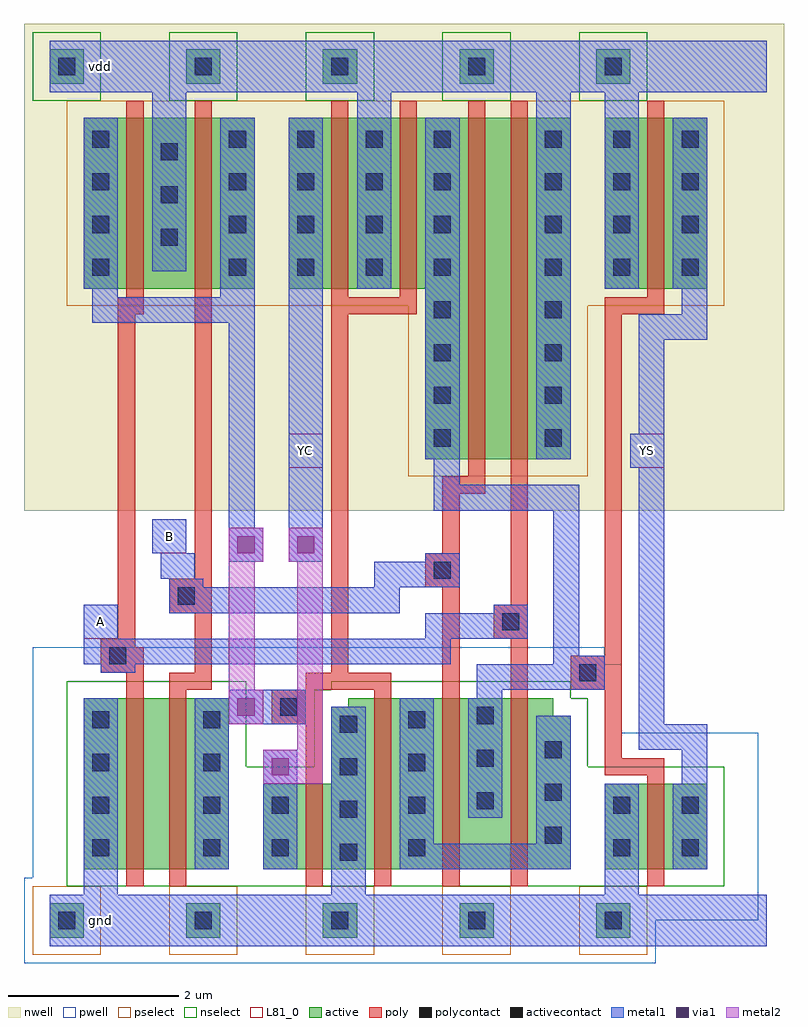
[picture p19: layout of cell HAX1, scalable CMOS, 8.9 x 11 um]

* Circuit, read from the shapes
.subckt HAX1 A B YC YS gnd vdd
M1 n1 A gnd gnd nfet w=2u l=0.2u
M2 n2 B n1 gnd nfet w=2u l=0.2u
M3 gnd n2 YC gnd nfet w=1u l=0.2u
M4 n3 n2 gnd gnd nfet w=2u l=0.2u
M5 n4 B n3 gnd nfet w=2u l=0.2u
M6 n3 A n4 gnd nfet w=2u l=0.2u
M7 YS n4 gnd gnd nfet w=1u l=0.2u
M8 vdd A n2 vdd pfet w=2u l=0.2u
M9 n2 B vdd vdd pfet w=2u l=0.2u
M10 vdd n2 YC vdd pfet w=2u l=0.2u
M11 n4 n2 vdd vdd pfet w=2u l=0.2u
M12 n5 B n4 vdd pfet w=4u l=0.2u
M13 vdd A n5 vdd pfet w=4u l=0.2u
M14 YS n4 vdd vdd pfet w=2u l=0.2u
.ends

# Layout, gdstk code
import gdstk
lib = gdstk.Library(unit=1e-6, precision=1e-09)
def R(c, l, rs):  # rectangles x0, y0, x1, y1
    for r in rs: c.add(gdstk.rectangle(r[:2], r[2:], *l))
def A(c, l, x, y, w, h, nx, ny, dx, dy):  # array of equal rectangles
    R(c, l, [(x+i*dx, y+j*dy, x+i*dx+w, y+j*dy+h) for i in range(nx) for j in range(ny)])
pwell = (41, 0)
nwell = (42, 0)
active = (43, 0)
pselect = (44, 0)
nselect = (45, 0)
poly = (46, 0)
polycontact = (47, 0)
activecontact = (48, 0)
metal1 = (49, 0)
via1 = (50, 0)
metal2 = (51, 0)
L81_0 = (81, 0)

hax1 = lib.new_cell('HAX1')
R(hax1, pwell, [(-0.5,-0.5,6.9,0), (-0.5,0,8.1,0.5), (-0.4,0.5,8.1,2.2), (-0.4,2.2,6.5,3), (-0.4,3,6.3,3.2)])
R(hax1, nwell, [(-0.5,4.8,8.4,10.5)])
A(hax1, active, -0.2, -0.2, 0.4, 0.4, 5, 2, 1.6, 10)
R(hax1, active, [(0.2,0.6,1.9,2.6), (2.3,0.6,5.9,1.6), (6.3,0.6,7.5,1.6), (3.1,1.6,5.9,2.4), (3.1,2.4,5.7,2.5), (3.3,2.5,5.7,2.6), (4.2,5.4,5.9,7.4), (0.2,7.4,2.2,9.4), (2.6,7.4,5.9,9.4), (6.3,7.4,7.5,9.4)])
A(hax1, pselect, -0.4, -0.4, 0.8, 0.8, 5, 1, 1.6, 0)
R(hax1, pselect, [(4,5.2,6.1,7.2), (0,7.2,7.7,9.6)])
A(hax1, nselect, -0.4, 9.6, 0.8, 0.8, 5, 1, 1.6, 0)
R(hax1, nselect, [(0,0.4,7.7,1.8), (0,1.8,2.1,2.8), (2.9,1.8,6.1,2.6), (2.9,2.6,5.9,2.7), (3.1,2.7,5.9,2.8)])
R(hax1, poly, [(0.7,0.4,0.9,2.9), (1.2,0.4,1.4,2.7), (2.8,0.4,3,2.3), (3.6,0.4,3.8,2.7), (4.4,0.4,4.6,3.9), (5.2,0.4,5.4,3.3), (6.8,0.4,7,1.7), (6.3,1.7,7,1.9), (6.3,1.9,6.5,2.7), (2.4,2.3,3,2.7), (1.2,2.7,1.7,2.9), (2.8,2.7,3.8,2.9), (5.9,2.7,6.5,3.1), (0.4,2.9,0.9,3.2), (1.5,2.9,1.7,3.6), (3.1,2.9,3.3,7.1), (6.3,3.1,6.5,7.1), (0.4,3.2,0.8,3.3), (0.6,3.3,0.8,7.1), (5,3.3,5.4,3.7), (1.2,3.6,1.7,4), (5.2,3.7,5.4,9.6), (4.2,3.9,4.6,4.3), (1.5,4,1.7,9.6), (4.4,4.3,4.6,5), (4.4,5,4.9,5.2), (4.7,5.2,4.9,9.6), (0.6,7.1,0.9,7.3), (3.1,7.1,4.1,7.3), (6.3,7.1,7,7.3), (0.7,7.3,0.9,9.6), (3.1,7.3,3.3,9.6), (3.9,7.3,4.1,9.6), (6.8,7.3,7,9.6)])
R(hax1, polycontact, [(2.5,2.4,2.7,2.6), (6,2.8,6.2,3), (0.5,3,0.7,3.2), (5.1,3.4,5.3,3.6), (1.3,3.7,1.5,3.9), (4.3,4,4.5,4.2)])
A(hax1, activecontact, -0.1, -0.1, 0.2, 0.2, 5, 2, 1.6, 10)
A(hax1, activecontact, 3.2, 0.7, 0.2, 0.2, 1, 4, 0, 0.5)
A(hax1, activecontact, 0.3, 0.75, 0.2, 0.2, 1, 4, 0, 0.5)
A(hax1, activecontact, 1.6, 0.75, 0.2, 0.2, 1, 4, 0, 0.5)
A(hax1, activecontact, 4, 0.75, 0.2, 0.2, 1, 4, 0, 0.5)
A(hax1, activecontact, 5.6, 0.9, 0.2, 0.2, 1, 3, 0, 0.5)
A(hax1, activecontact, 4.8, 1.3, 0.2, 0.2, 1, 3, 0, 0.5)
A(hax1, activecontact, 4.3, 5.55, 0.2, 0.2, 1, 4, 0, 0.5)
A(hax1, activecontact, 5.6, 5.55, 0.2, 0.2, 1, 4, 0, 0.5)
A(hax1, activecontact, 0.3, 7.55, 0.2, 0.2, 1, 4, 0, 0.5)
A(hax1, activecontact, 1.9, 7.55, 0.2, 0.2, 4, 4, 0.8, 0.5)
A(hax1, activecontact, 5.6, 7.55, 0.2, 0.2, 3, 4, 0.8, 0.5)
A(hax1, activecontact, 1.1, 7.9, 0.2, 0.2, 1, 3, 0, 0.5)
R(hax1, activecontact, [(2.4,0.75,2.6,0.95), (6.4,0.75,6.6,0.95), (7.2,0.75,7.4,0.95), (2.4,1.25,2.6,1.45), (6.4,1.25,6.6,1.45), (7.2,1.25,7.4,1.45)])
R(hax1, metal1, [(-0.2,-0.3,8.2,0.3), (0.2,0.3,0.6,2.6), (3.1,0.3,3.5,2.5), (6.3,0.3,6.7,1.6), (1.5,0.6,1.9,2.3), (2.3,0.6,2.7,2), (3.9,0.6,5.9,0.9), (7.1,0.6,7.5,1.6), (3.9,0.9,4.3,2.6), (5.5,0.9,5.9,2.4), (4.7,1.2,5.1,2.6), (7.2,1.6,7.5,2), (6.7,2,7.5,2.3), (1.5,2.3,2.8,2.6), (6.7,2.3,7,5.3), (1.9,2.6,2.8,2.7), (4.8,2.6,5.1,2.7), (4.8,2.7,6.3,3), (0.4,2.9,0.8,3), (0.2,3,4.5,3.3), (5.7,3,6.3,3.1), (5.7,3.1,6,4.8), (0.2,3.3,0.6,3.7), (4.2,3.3,5.4,3.6), (1.2,3.6,3.9,3.9), (5,3.6,5.4,3.7), (1.2,3.9,1.6,4), (3.6,3.9,4.6,4.2), (1.1,4,1.5,4.3), (1.9,4.2,2.3,4.6), (2.6,4.2,3,9.4), (4.2,4.2,4.6,4.3), (1,4.3,1.4,4.7), (1.9,4.6,2.2,7), (4.3,4.8,6,5.1), (4.3,5.1,4.6,5.4), (6.6,5.3,7,5.7), (4.2,5.4,4.6,9.4), (5.5,5.4,5.9,9.7), (6.7,5.7,7,6.8), (6.7,6.8,7.5,7.1), (0.3,7,2.2,7.3), (7.2,7.1,7.5,7.4), (0.3,7.3,0.6,7.4), (1.8,7.3,2.2,9.4), (0.2,7.4,0.6,9.4), (3.4,7.4,3.8,9.7), (6.3,7.4,6.7,9.7), (7.1,7.4,7.5,9.4), (1,7.6,1.4,9.7), (-0.2,9.7,8.2,10.3)])
R(hax1, via1, [(2.4,1.7,2.6,1.9), (2,2.4,2.2,2.6), (2,4.3,2.2,4.5), (2.7,4.3,2.9,4.5)])
R(hax1, metal2, [(2.3,1.6,3,2), (2.7,2,3,4.2), (1.9,2.3,2.3,2.7), (1.9,2.7,2.2,4.2), (1.9,4.2,2.3,4.6), (2.6,4.2,3,4.6)])
R(hax1, L81_0, [(0.2,3.3,0.6,3.7), (1,4.3,1.4,4.7), (2.6,5.3,3,5.7), (6.6,5.3,7,5.7)])
hax1.add(gdstk.Label('vdd', (0.4,10), layer=49, texttype=0))
hax1.add(gdstk.Label('gnd', (0.4,0), layer=49, texttype=0))
hax1.add(gdstk.Label('YC', (2.8,5.5), layer=49, texttype=0))
hax1.add(gdstk.Label('A', (0.4,3.5), layer=49, texttype=0))
hax1.add(gdstk.Label('B', (1.2,4.5), layer=49, texttype=0))
hax1.add(gdstk.Label('YS', (6.8,5.5), layer=49, texttype=0))

lib.write_gds('HAX1.gds')
